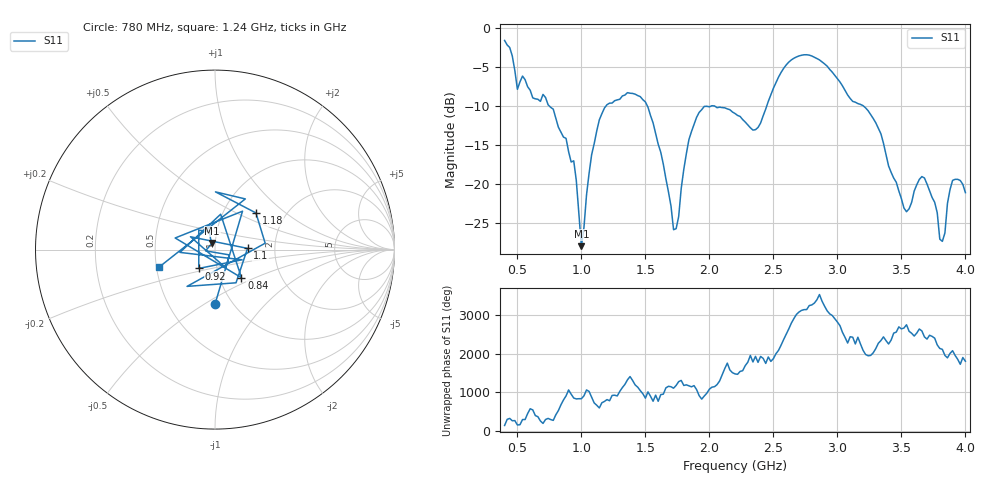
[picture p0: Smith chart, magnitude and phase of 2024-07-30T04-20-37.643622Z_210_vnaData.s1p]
!Created with skrf (http://scikit-rf.org).
# Hz S RI R 50.0
!freq ReS11 ImS11
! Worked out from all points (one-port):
!   181 points, 400 MHz to 4 GHz, reference 50 ohm
!   lowest |S11| = -27.9 dB at 1 GHz (marker M1), VSWR 1.08, Z = 48.3 + j3.58 ohm
!   |S11| at or under -10 dB: 747.8 MHz to 1.193 GHz (445.2 MHz wide, 45.9 % of centre); 1.515 GHz to 2.018 GHz (503.1 MHz wide, 28.5 % of centre); 3.202 GHz to end of sweep (the widest 3 of 4)
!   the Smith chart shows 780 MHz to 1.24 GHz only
!   S11 on the Smith chart (normalised r, x): 780 MHz: 0.84, -0.55; 840 MHz: 1.27, -0.42; 920 MHz: 0.82, -0.17; 1.1 GHz: 1.44, +0.02; 1.18 GHz: 1.42, +0.64; 1.24 GHz: 0.51, -0.11
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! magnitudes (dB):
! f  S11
! 400 MHz  -1.6
! 500 MHz  -7.9
! 780 MHz  -10.4
! 840 MHz  -13.4
! 860 MHz  -14.0
! 920 MHz  -17.2
! 960 MHz  -19.5
! 1 GHz  -27.9
! 1.1 GHz  -14.8
! 1.18 GHz  -10.3
! 1.24 GHz  -9.6
! 1.3 GHz  -9.2
! 1.5 GHz  -9.5
! 1.62 GHz  -15.9
! 1.72 GHz  -25.8
! 1.76 GHz  -24.1
! 1.84 GHz  -14.3
! 1.92 GHz  -10.8
! 2.2 GHz  -11.0
! 2.38 GHz  -12.8
! 2.66 GHz  -3.9
! 3.1 GHz  -9.1
! 3.3 GHz  -12.2
! 3.56 GHz  -23.1
! 3.68 GHz  -19.2
! 3.82 GHz  -27.3
! 3.9 GHz  -19.5
! 4 GHz  -21.1
